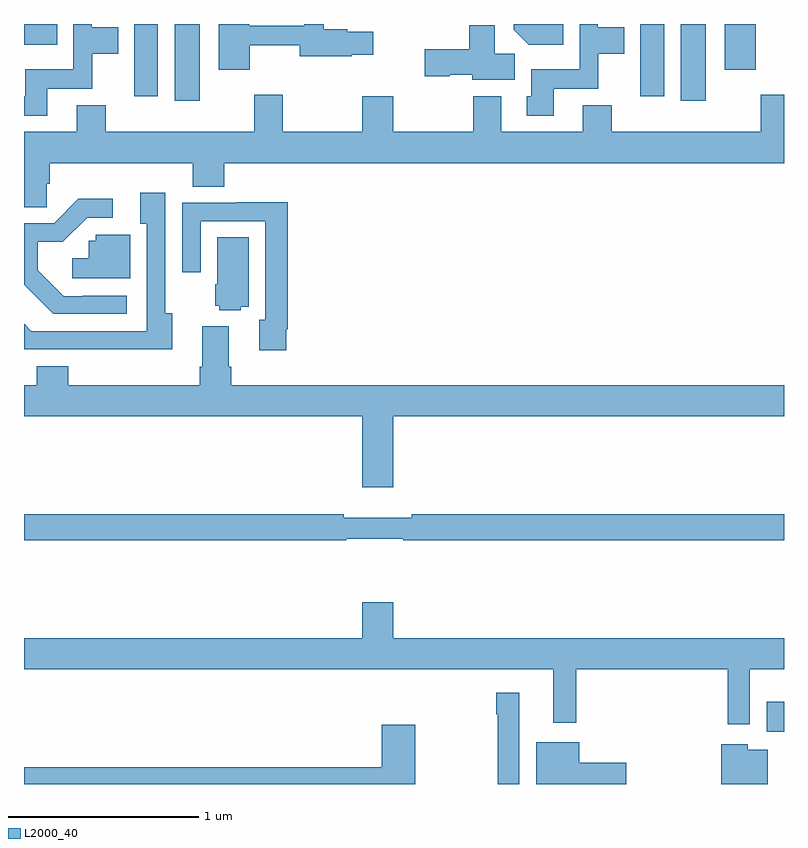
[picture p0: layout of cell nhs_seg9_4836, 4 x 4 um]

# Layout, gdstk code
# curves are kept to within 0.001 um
import gdstk
lib = gdstk.Library(unit=1e-6, precision=1e-09)
def R(c, l, rs):  # rectangles x0, y0, x1, y1
    for r in rs: c.add(gdstk.rectangle(r[:2], r[2:], *l))
def P(c, l, *ps):  # polygons
    for p in ps: c.add(gdstk.Polygon(p, *l))
L2000_40 = (2000, 40)

nhs_seg9_4836 = lib.new_cell('nhs_seg9_4836')
R(nhs_seg9_4836, L2000_40, [(394.91,1178.774,395,1178.932), (391.793,1182.096,391.924,1182.5), (394.457,1182.096,394.588,1182.5), (391.58,1182.12,391.705,1182.5), (394.244,1182.12,394.369,1182.5), (391,1182.392,391.175,1182.5)])
P(nhs_seg9_4836, L2000_40, [(393.787,1182.158),(394.023,1182.158),(394.023,1182.344),(394.159,1182.344),(394.159,1182.484),(394.02,1182.484),(394.02,1182.5),(393.924,1182.5),(393.924,1182.262),(393.671,1182.262),(393.671,1182.12),(393.647,1182.12),(393.647,1182.018),(393.787,1182.018)],
  [(391.123,1182.158),(391.359,1182.158),(391.359,1182.344),(391.495,1182.344),(391.495,1182.484),(391.356,1182.484),(391.356,1182.5),(391.26,1182.5),(391.26,1182.262),(391.007,1182.262),(391.007,1182.12),(391,1182.12),(391,1182.018),(391.123,1182.018)],
  [(392.188,1182.388),(392.45,1182.388),(392.45,1182.331),(392.726,1182.331),(392.726,1182.338),(392.839,1182.338),(392.839,1182.46),(392.7,1182.46),(392.7,1182.473),(392.578,1182.473),(392.578,1182.5),(392.474,1182.5),(392.474,1182.49),(392.186,1182.49),(392.186,1182.5),(392.024,1182.5),(392.024,1182.258),(392.188,1182.258)],
  [(394.852,1182.411),(394.85,1182.411),(394.85,1182.5),(394.688,1182.5),(394.688,1182.258),(394.852,1182.258)],
  [(393.839,1182.5),(393.578,1182.5),(393.578,1182.47),(393.656,1182.392),(393.839,1182.392)],
  [(393.583,1182.344),(393.478,1182.344),(393.478,1182.493),(393.344,1182.493),(393.344,1182.368),(393.108,1182.368),(393.108,1182.226),(393.24,1182.226),(393.24,1182.233),(393.36,1182.233),(393.36,1182.206),(393.583,1182.206)],
  [(391.121,1181.658),(391.136,1181.658),(391.136,1181.768),(391.889,1181.768),(391.889,1181.644),(392.054,1181.644),(392.054,1181.768),(395,1181.768),(395,1182.127),(394.877,1182.127),(394.877,1181.932),(394.094,1181.932),(394.094,1182.073),(393.941,1182.073),(393.941,1181.932),(393.511,1181.932),(393.511,1182.121),(393.364,1182.121),(393.364,1181.932),(392.944,1181.932),(392.944,1182.121),(392.78,1182.121),(392.78,1181.932),(392.361,1181.932),(392.361,1182.127),(392.213,1182.127),(392.213,1181.932),(391.43,1181.932),(391.43,1182.073),(391.277,1182.073),(391.277,1181.932),(391,1181.932),(391,1181.536),(391.121,1181.536)],
  [(391.78,1180.978),(391.743,1180.978),(391.743,1181.611),(391.613,1181.611),(391.613,1181.45),(391.647,1181.45),(391.647,1180.884),(391.038,1180.884),(391,1180.922),(391,1180.788),(391.78,1180.787)],
  [(391.54,1181.07),(391.309,1181.07),(391.309,1181.067),(391.209,1181.067),(391.072,1181.204),(391.072,1181.354),(391.205,1181.354),(391.332,1181.481),(391.468,1181.481),(391.468,1181.579),(391.286,1181.579),(391.158,1181.451),(391,1181.451),(391,1181.128),(391.154,1180.974),(391.54,1180.974)],
  [(392.38,1180.894),(392.387,1180.894),(392.387,1181.563),(392.117,1181.563),(392.117,1181.559),(391.833,1181.559),(391.833,1181.193),(391.929,1181.193),(391.929,1181.463),(392.271,1181.463),(392.271,1180.943),(392.237,1180.943),(392.237,1180.782),(392.38,1180.782)],
  [(391.558,1181.391),(391.377,1181.391),(391.377,1181.358),(391.341,1181.358),(391.341,1181.266),(391.254,1181.266),(391.254,1181.163),(391.558,1181.163)],
  [(392.142,1181.012),(392.182,1181.012),(392.182,1181.378),(392.018,1181.378),(392.018,1181.13),(392.006,1181.13),(392.006,1181.016),(392.028,1181.016),(392.028,1180.994),(392.142,1180.994)],
  [(392.944,1180.436),(395,1180.436),(395,1180.6),(392.09,1180.6),(392.09,1180.696),(392.077,1180.696),(392.077,1180.909),(391.937,1180.909),(391.937,1180.696),(391.925,1180.696),(391.925,1180.6),(391.232,1180.6),(391.232,1180.699),(391.067,1180.699),(391.067,1180.6),(391,1180.6),(391,1180.436),(392.78,1180.436),(392.78,1180.062),(392.944,1180.062)],
  [(392.696,1179.792),(392.996,1179.792),(392.996,1179.784),(395,1179.784),(395,1179.92),(393.04,1179.92),(393.04,1179.901),(392.684,1179.901),(392.684,1179.92),(391,1179.92),(391,1179.784),(392.696,1179.784)],
  [(394.821,1179.104),(395,1179.104),(395,1179.268),(392.944,1179.268),(392.944,1179.457),(392.78,1179.457),(392.78,1179.268),(391,1179.268),(391,1179.104),(393.785,1179.104),(393.785,1178.823),(393.907,1178.823),(393.907,1179.104),(394.705,1179.104),(394.705,1178.814),(394.821,1178.814)],
  [(393.607,1178.98),(393.486,1178.98),(393.486,1178.867),(393.493,1178.867),(393.493,1178.5),(393.607,1178.5)],
  [(393.06,1178.812),(392.882,1178.812),(392.882,1178.588),(391,1178.588),(391,1178.5),(393.06,1178.5)],
  [(394.171,1178.613),(393.922,1178.613),(393.922,1178.719),(393.695,1178.719),(393.695,1178.5),(394.171,1178.5)],
  [(394.915,1178.68),(394.81,1178.68),(394.81,1178.71),(394.67,1178.71),(394.67,1178.5),(394.915,1178.5)])

lib.write_gds('nhs_seg9_4836.gds')
